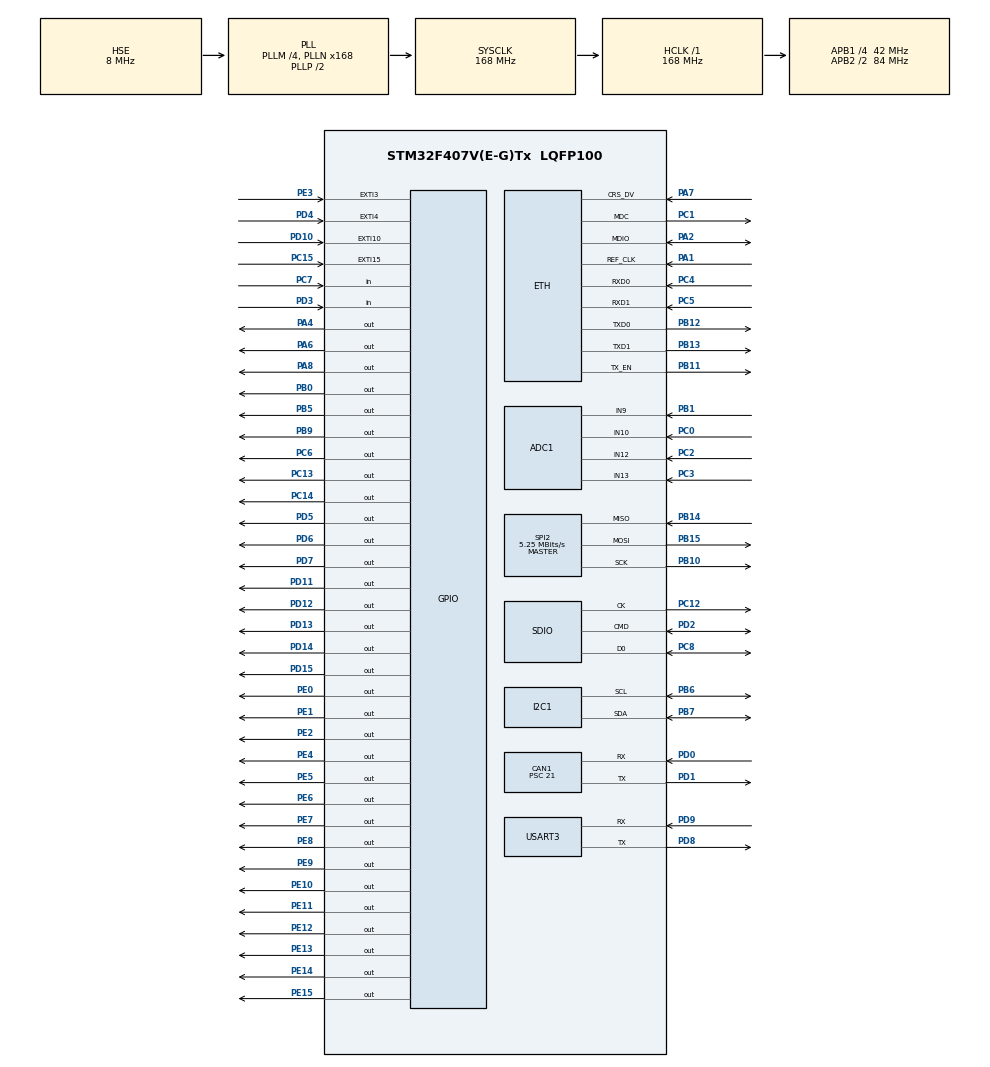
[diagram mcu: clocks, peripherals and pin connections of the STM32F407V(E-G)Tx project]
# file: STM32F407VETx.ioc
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ADC1.Channel-10\#ChannelRegularConversion=ADC_CHANNEL_13
ADC1.Channel-11\#ChannelRegularConversion=ADC_CHANNEL_9
ADC1.Channel-8\#ChannelRegularConversion=ADC_CHANNEL_10
ADC1.Channel-9\#ChannelRegularConversion=ADC_CHANNEL_12
ADC1.ContinuousConvMode=ENABLE
ADC1.DMAContinuousRequests=ENABLE
ADC1.NbrOfConversion=4
ADC1.NbrOfConversionFlag=1
ADC1.Rank-10\#ChannelRegularConversion=3
ADC1.Rank-11\#ChannelRegularConversion=4
ADC1.Rank-8\#ChannelRegularConversion=1
ADC1.Rank-9\#ChannelRegularConversion=2
ADC1.SamplingTime-10\#ChannelRegularConversion=ADC_SAMPLETIME_84CYCLES
ADC1.SamplingTime-11\#ChannelRegularConversion=ADC_SAMPLETIME_84CYCLES
ADC1.SamplingTime-8\#ChannelRegularConversion=ADC_SAMPLETIME_84CYCLES
ADC1.SamplingTime-9\#ChannelRegularConversion=ADC_SAMPLETIME_84CYCLES
ADC1.ScanConvMode=ENABLE
ADC1.master=1
CAN1.BS1=CAN_BS1_14TQ
CAN1.BS2=CAN_BS2_5TQ
CAN1.CalculateBaudRate=100000
CAN1.CalculateTimeBit=10000
CAN1.CalculateTimeQuantum=500.0
CAN1.NART=ENABLE
CAN1.Prescaler=21
Dma.ADC1.0.Direction=DMA_PERIPH_TO_MEMORY
Dma.ADC1.0.FIFOMode=DMA_FIFOMODE_DISABLE
Dma.ADC1.0.Instance=DMA2_Stream0
Dma.ADC1.0.MemDataAlignment=DMA_MDATAALIGN_HALFWORD
Dma.ADC1.0.MemInc=DMA_MINC_ENABLE
Dma.ADC1.0.Mode=DMA_CIRCULAR
Dma.ADC1.0.PeriphDataAlignment=DMA_PDATAALIGN_HALFWORD
Dma.ADC1.0.PeriphInc=DMA_PINC_DISABLE
Dma.ADC1.0.Priority=DMA_PRIORITY_LOW
Dma.Request0=ADC1
Dma.Request1=SDIO_TX
Dma.Request2=SDIO_RX
Dma.SDIO_RX.2.Direction=DMA_PERIPH_TO_MEMORY
Dma.SDIO_RX.2.FIFOMode=DMA_FIFOMODE_ENABLE
Dma.SDIO_RX.2.FIFOThreshold=DMA_FIFO_THRESHOLD_FULL
Dma.SDIO_RX.2.Instance=DMA2_Stream6
Dma.SDIO_RX.2.MemBurst=DMA_MBURST_INC4
Dma.SDIO_RX.2.MemDataAlignment=DMA_MDATAALIGN_WORD
Dma.SDIO_RX.2.MemInc=DMA_MINC_ENABLE
Dma.SDIO_RX.2.Mode=DMA_PFCTRL
Dma.SDIO_RX.2.PeriphBurst=DMA_PBURST_INC4
Dma.SDIO_RX.2.PeriphDataAlignment=DMA_PDATAALIGN_WORD
Dma.SDIO_RX.2.PeriphInc=DMA_PINC_DISABLE
Dma.SDIO_RX.2.Priority=DMA_PRIORITY_LOW
Dma.SDIO_TX.1.Direction=DMA_MEMORY_TO_PERIPH
Dma.SDIO_TX.1.FIFOMode=DMA_FIFOMODE_ENABLE
Dma.SDIO_TX.1.FIFOThreshold=DMA_FIFO_THRESHOLD_FULL
Dma.SDIO_TX.1.Instance=DMA2_Stream3
Dma.SDIO_TX.1.MemBurst=DMA_MBURST_INC4
Dma.SDIO_TX.1.MemDataAlignment=DMA_MDATAALIGN_WORD
Dma.SDIO_TX.1.MemInc=DMA_MINC_ENABLE
Dma.SDIO_TX.1.Mode=DMA_PFCTRL
Dma.SDIO_TX.1.PeriphBurst=DMA_PBURST_INC4
Dma.SDIO_TX.1.PeriphDataAlignment=DMA_PDATAALIGN_WORD
Dma.SDIO_TX.1.PeriphInc=DMA_PINC_DISABLE
Dma.SDIO_TX.1.Priority=DMA_PRIORITY_LOW
ETH.MediaInterface=HAL_ETH_RMII_MODE
FATFS.BSP.number=1
FATFS.USE_DMA_CODE_SD=1
FATFS._USE_LFN=1
FATFS0.BSP.STBoard=false
FATFS0.BSP.api=Unknown
FATFS0.BSP.instance=PD3
FATFS0.BSP.ip=GPIO
FATFS0.BSP.mode=Input
FATFS0.BSP.name=Detect_SDIO
FATFS0.BSP.solution=PD3
I2C1.I2C_Mode=I2C_Fast
LWIP.BSP.number=1
LWIP.GATEWAY_ADDRESS=192.168.000.001
LWIP.IP_ADDRESS=192.168.000.244
LWIP.LWIP_DHCP=0
LWIP.NETMASK_ADDRESS=255.255.255.000
LWIP.Version=v2.1.2_Cube
LWIP0.BSP.STBoard=false
LWIP0.BSP.api=BSP_COMPONENT_DRIVER
LWIP0.BSP.component=DP83848
LWIP0.BSP.instance=DP83848
LWIP0.BSP.name=Driver_PHY
LWIP0.BSP.semaphore=S_DP83848
LWIP0.BSP.solution=DP83848
Mcu.Family=STM32F4
Mcu.Name=STM32F407V(E-G)Tx
Mcu.Package=LQFP100
NVIC.CAN1_RX0_IRQn=true\:0\:0\:false\:false\:true\:true\:true\:true
NVIC.DMA2_Stream0_IRQn=true\:0\:0\:false\:false\:true\:false\:true\:true
NVIC.DMA2_Stream3_IRQn=true\:0\:0\:false\:false\:true\:false\:true\:true
NVIC.DMA2_Stream6_IRQn=true\:0\:0\:false\:false\:true\:false\:true\:true
NVIC.EXTI15_10_IRQn=true\:0\:0\:false\:true\:true\:4\:true\:true\:true
NVIC.EXTI3_IRQn=true\:0\:0\:false\:true\:true\:5\:true\:true\:true
NVIC.EXTI4_IRQn=true\:0\:0\:false\:true\:true\:3\:true\:true\:true
NVIC.PriorityGroup=NVIC_PRIORITYGROUP_4
NVIC.SDIO_IRQn=true\:0\:0\:false\:false\:true\:true\:true\:true
NVIC.TIM7_IRQn=true\:0\:0\:false\:true\:true\:2\:true\:true\:true
NVIC.USART3_IRQn=true\:0\:0\:false\:true\:true\:1\:true\:true\:true
PA1.Mode=RMII
PA1.Signal=ETH_REF_CLK
PA2.Mode=RMII
PA2.Signal=ETH_MDIO
PA4.Signal=GPIO_Output
PA6.Signal=GPIO_Output
PA7.Mode=RMII
PA7.Signal=ETH_CRS_DV
PA8.Signal=GPIO_Output
PB0.GPIO_PuPd=GPIO_NOPULL
PB0.Signal=GPIO_Output
PB1.Signal=ADCx_IN9
PB10.Mode=Full_Duplex_Master
PB10.Signal=SPI2_SCK
PB11.Mode=RMII
PB11.Signal=ETH_TX_EN
PB12.Mode=RMII
PB12.Signal=ETH_TXD0
PB13.Mode=RMII
PB13.Signal=ETH_TXD1
PB14.Mode=Full_Duplex_Master
PB14.Signal=SPI2_MISO
PB15.Mode=Full_Duplex_Master
PB15.Signal=SPI2_MOSI
PB5.GPIO_PuPd=GPIO_NOPULL
PB5.Signal=GPIO_Output
PB6.Mode=I2C
PB6.Signal=I2C1_SCL
PB7.Mode=I2C
PB7.Signal=I2C1_SDA
PB9.Signal=GPIO_Output
PC0.Signal=ADCx_IN10
PC1.Mode=RMII
PC1.Signal=ETH_MDC
PC12.Mode=SD_1_bit
PC12.Signal=SDIO_CK
PC13-ANTI_TAMP.Signal=GPIO_Output
PC14-OSC32_IN.Signal=GPIO_Output
PC15-OSC32_OUT.GPIO_ModeDefaultEXTI=GPIO_MODE_IT_RISING
PC15-OSC32_OUT.Signal=GPXTI15
PC2.Signal=ADCx_IN12
PC3.Signal=ADCx_IN13
PC4.Mode=RMII
PC4.Signal=ETH_RXD0
PC5.Mode=RMII
PC5.Signal=ETH_RXD1
PC6.GPIO_PuPd=GPIO_NOPULL
PC6.Signal=GPIO_Output
PC7.Signal=GPIO_Input
PC8.Mode=SD_1_bit
PC8.Signal=SDIO_D0
PD0.Mode=CAN_Activate
PD0.Signal=CAN1_RX
PD1.Mode=CAN_Activate
PD1.Signal=CAN1_TX
PD10.GPIO_ModeDefaultEXTI=GPIO_MODE_IT_RISING
PD10.Signal=GPXTI10
PD11.Signal=GPIO_Output
PD12.Signal=GPIO_Output
PD13.Signal=GPIO_Output
PD14.Signal=GPIO_Output
PD15.Signal=GPIO_Output
PD2.Mode=SD_1_bit
PD2.Signal=SDIO_CMD
PD3.Signal=GPIO_Input
PD4.GPIO_ModeDefaultEXTI=GPIO_MODE_IT_RISING
PD4.Signal=GPXTI4
PD5.Signal=GPIO_Output
PD6.Signal=GPIO_Output
PD7.Signal=GPIO_Output
PD8.Mode=Asynchronous
PD8.Signal=USART3_TX
PD9.Mode=Asynchronous
PD9.Signal=USART3_RX
PE0.Signal=GPIO_Output
PE1.Signal=GPIO_Output
PE10.Signal=GPIO_Output
PE11.Signal=GPIO_Output
PE12.Signal=GPIO_Output
PE13.Signal=GPIO_Output
PE14.Signal=GPIO_Output
PE15.Signal=GPIO_Output
PE2.Signal=GPIO_Output
PE3.Signal=GPXTI3
PE4.Signal=GPIO_Output
PE5.Signal=GPIO_Output
PE6.Signal=GPIO_Output
PE7.Signal=GPIO_Output
PE8.Signal=GPIO_Output
PE9.Signal=GPIO_Output
PH0-OSC_IN.Mode=HSE-External-Oscillator
PH0-OSC_IN.Signal=RCC_OSC_IN
PH1-OSC_OUT.Mode=HSE-External-Oscillator
PH1-OSC_OUT.Signal=RCC_OSC_OUT
ProjectManager.HeapSize=0x200
ProjectManager.StackSize=0x400
ProjectManager.TargetToolchain=STM32CubeIDE
RCC.48MHZClocksFreq_Value=48000000
RCC.AHBFreq_Value=168000000
RCC.APB1CLKDivider=RCC_HCLK_DIV4
RCC.APB1Freq_Value=42000000
RCC.APB1TimFreq_Value=84000000
RCC.APB2CLKDivider=RCC_HCLK_DIV2
RCC.APB2Freq_Value=84000000
RCC.APB2TimFreq_Value=168000000
RCC.CortexFreq_Value=168000000
RCC.HCLKFreq_Value=168000000
RCC.HSE_VALUE=8000000
RCC.HSI_VALUE=16000000
RCC.LSE_VALUE=32768
RCC.PLLM=4
RCC.PLLN=168
RCC.PLLQ=7
RCC.PLLSourceVirtual=RCC_PLLSOURCE_HSE
RCC.SYSCLKFreq_VALUE=168000000
RCC.SYSCLKSource=RCC_SYSCLKSOURCE_PLLCLK
RCC.VCOOutputFreq_Value=336000000
SH.ADCx_IN10.0=ADC1_IN10,IN10
SH.ADCx_IN12.0=ADC1_IN12,IN12
SH.ADCx_IN13.0=ADC1_IN13,IN13
SH.ADCx_IN9.0=ADC1_IN9,IN9
SPI2.BaudRatePrescaler=SPI_BAUDRATEPRESCALER_8
SPI2.CLKPhase=SPI_PHASE_2EDGE
SPI2.CLKPolarity=SPI_POLARITY_HIGH
SPI2.CalculateBaudRate=5.25 MBits/s
SPI2.Direction=SPI_DIRECTION_2LINES
SPI2.Mode=SPI_MODE_MASTER
SPI2.VirtualType=VM_MASTER
TIM7.Period=2099
TIM7.Prescaler=9999
USART3.VirtualMode=VM_ASYNC
VP_FATFS_VS_SDIO.Mode=SDIO
VP_LWIP_VS_Enabled.Mode=Enabled
VP_RNG_VS_RNG.Mode=RNG_Activate
VP_TIM7_VS_ClockSourceINT.Mode=Enable_Timer
board=custom

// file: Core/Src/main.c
/* USER CODE BEGIN Header */
/**
  ******************************************************************************
  * @file           : main.c
  * @brief          : Main program body
  ******************************************************************************
  * @attention
  *
  * Copyright (c) 2023 STMicroelectronics.
  * All rights reserved.
  *
  * This software is licensed under terms that can be found in the LICENSE file
  * in the root directory of this software component.
  * If no LICENSE file comes with this software, it is provided AS-IS.
  *
  ******************************************************************************
  */
/* USER CODE END Header */
#include "main.h"
#include "adc.h"
#include "can.h"
#include "dma.h"
#include "fatfs.h"
#include "i2c.h"
#include "lwip.h"
#include "rng.h"
#include "sdio.h"
#include "spi.h"
#include "tim.h"
#include "usart.h"
#include "gpio.h"

/* USER CODE BEGIN Includes */
#include <stdio.h>
#include "CLCD.h"
#include "7SEG.h"
#include "VS1003.h"
#include "MP3Sample.h"
#include "udp_echoserver.h"
/* USER CODE END Includes */

/* USER CODE BEGIN PTD */
typedef	struct{
	uint8_t		corrupted;
	uint32_t	used_time;
}DeviceInfo;
/* USER CODE END PTD */

/* USER CODE BEGIN PD */
#define	RIGHT_SG90_CCR	176
#define	LEFT_SG90_CCR	1319

#define	MAX_OCTAVE	8
#define	MAX_SCALE	12

#define	BUZZER_SRC_TIMER		(TIM2)
#define	BUZZER_SRC_CHANNEL		(TIM_CHANNEL_1)
#define	BUZZER_SRC_TIMER_FREQ	84000000
#define	BUZZER_SRC_TIMER_ARR	168

#define	NUM_OF_ADC_CONVERSION	4

#define	TRUE	1
#define	FALSE	0

#define	EEPROM_I2C_ADDR		0xA0
#define	EEPROM_DATA_ADDR	0x00
#define	EEPROM_TIMEOUT		10	// ms

#define	MP3_DATA_PACKET_SIZE	32
#define	NUM_OF_TRACKS			4
/* USER CODE END PD */

/* USER CODE BEGIN PM */
#define	get_random_number(MAX_NUM)	(HAL_RNG_GetRandomNumber(&hrng)%(MAX_NUM))
#define	update_SG90_dir(cur)		((cur)=((cur)==LEFT_SG90_CCR)?RIGHT_SG90_CCR:LEFT_SG90_CCR)

#define	next_octave(o)	(((o)+1)%MAX_OCTAVE)
#define	next_scale(s)	(((s)+1)%MAX_SCALE)

#define	PAUSE	0
#define	PLAY	1
/* USER CODE END PM */

/* USER CODE BEGIN PV */
// UART
static uint8_t	uart3_rx_data;

// CLDC
static uint8_t	clcd_out_sig;

#if 0
static uint16_t	sg90_ccr = LEFT_SG90_CCR;

static uint32_t	freq[MAX_OCTAVE][MAX_SCALE] = {
		{33,35,37,39,41,44,46,49,52,55,58,62},
		{65,69,73,78,82,87,92,98,104,110,117,123},
		{131,139,147,156,165,175,185,196,208,220,233,247},
		{262,277,294,311,330,349,370,392,415,440,466,494},
		{523,554,587,622,659,698,740,784,831,880,932,988},
		{1047,1109,1175,1245,1319,1397,1480,1568,1661,1760,1865,1976},
		{2093,2217,2349,2489,2637,2794,2960,3136,3322,3520,3729,3951},
		{4186,4435,4699,4978,5274,5588,5920,6272,6645,7040,7459,7902}
};

static char* scale[MAX_SCALE] = {
		"C","C#","D","D#","E","F","F#","G","G#","A","A#","B"
};

static int32_t	cur_octave = MAX_OCTAVE-1;
static int32_t	cur_scale = MAX_SCALE-1;
#endif
// ADC
static uint8_t	src_idx_of_adc;
volatile static uint16_t	adc_val[NUM_OF_ADC_CONVERSION];
const static char*	adc_name[NUM_OF_ADC_CONVERSION] = {"VR1","VR2","VR3","CDS"};
const static struct{uint32_t min_val,max_val;}
	resolution[NUM_OF_ADC_CONVERSION] = {{0,4095},{0,4095},{0,4095},{0,4095}};

// EEPROM
static union{
	uint8_t		data[sizeof(DeviceInfo)];
	DeviceInfo	d;
} device_info;

// MP3
const static uint8_t*	MP3_file_name[] = {
		"0:/track1.mp3","0:/track2.mp3","0:/track3.mp3","0:/track4.mp3"
};

static uint8_t	new_mp3_sig;
static uint32_t	mp3_ptr,cur_mp3_mode,cur_play_ptr;

// CAN
static uint8_t	can_tx_sig,can_rx_sig;
static uint32_t	canMsgId[] = {0x102,0x106,0x10A,0x10E};

/* USER CODE END PV */

void SystemClock_Config(void);
static void MX_NVIC_Init(void);

/* USER CODE BEGIN 0 */
static uint32_t	reset_device_info(void)
{
	uint8_t	reset_data[sizeof(DeviceInfo)] = {0,};

	HAL_I2C_Mem_Write(&hi2c1, EEPROM_I2C_ADDR, EEPROM_DATA_ADDR,
			I2C_MEMADD_SIZE_8BIT, reset_data, sizeof(DeviceInfo), EEPROM_TIMEOUT);
	return	0;
}

static uint32_t read_device_info(void)
{
	HAL_I2C_Mem_Read(&hi2c1, EEPROM_I2C_ADDR, EEPROM_DATA_ADDR,
			I2C_MEMADD_SIZE_8BIT, device_info.data, sizeof(DeviceInfo), EEPROM_TIMEOUT);

	printf("device_info.d.corrupted : %s\n",device_info.d.corrupted?"True":"False");

	if( device_info.d.corrupted != FALSE )
	{
		reset_device_info();
		HAL_I2C_Mem_Read(&hi2c1, EEPROM_I2C_ADDR, EEPROM_DATA_ADDR,
			I2C_MEMADD_SIZE_8BIT, device_info.data, sizeof(DeviceInfo), EEPROM_TIMEOUT);
	}

	return	0;
}

static uint32_t write_device_info(void)
{
	printf("Write Device Information, %lu\n",device_info.d.used_time);
	HAL_I2C_Mem_Write(&hi2c1, EEPROM_I2C_ADDR, EEPROM_DATA_ADDR,
				I2C_MEMADD_SIZE_8BIT, device_info.data, sizeof(DeviceInfo), EEPROM_TIMEOUT);

	return	0;
}

static uint32_t	get_7SEG_value(uint8_t adc_ptr)
{
	return	100*(uint32_t)adc_val[adc_ptr]/resolution[adc_ptr].max_val;
}

static int	change_LED_state(int led_pos,int pin_state)
{
	for(int i=0;i<NUM_OF_LEDs;i++)
	{
		HAL_GPIO_WritePin(led[led_pos][i].gpio_type, led[led_pos][i].gpio_pin, pin_state);
	}

	return	0;
}

static int	set_LED_state_by_switch(int switch_idx)
{
	if( HAL_GPIO_ReadPin(swtch[switch_idx].gpio_type, swtch[switch_idx].gpio_pin) == SWITCH_ON )
	{
		change_LED_state(LEFT, LED_ON);
		change_LED_state(RIGHT, LED_ON);
	}
	else
	{
		change_LED_state(LEFT, LED_OFF);
		change_LED_state(RIGHT, LED_OFF);
	}

	return	0;
}

int	_write(int file,char* p,int len)
{
	HAL_UART_Transmit(&huart3, (uint8_t*)p, len, 10);
	return	0;
}

#if 0
int	set_buzzer(void)
{
	/*
	if( ++cur_scale == MAX_SCALE )
	{
		cur_scale = 0;

		if( ++cur_octave == MAX_OCTAVE )
		{
			cur_octave = 0;
		}
	}
	*/
	BUZZER_SRC_TIMER->PSC =
			BUZZER_SRC_TIMER_FREQ/(/*freq[cur_octave][cur_scale]*/adc_val[0]*BUZZER_SRC_TIMER_ARR);

	return	0;
}
#endif

uint32_t	send_mp3_data_to_codec(void)
{
	uint8_t		buf[32];
	uint32_t	read_size;

	if( MP3_DREQ != GPIO_PIN_SET )
	{
		return	0;
	}

	if( (retSD=f_read(&SDFile,buf,32,&read_size)) != FR_OK )
	{
		CLCD_Printf("Cannot read\n%s",MP3_file_name[mp3_ptr]);
		return	0;
	}

	if( read_size == 0 )
	{
		CLCD_Printf("End of Song\n%s",MP3_file_name[mp3_ptr]);
		return	0;
	}

	VS1003_WriteData(buf,read_size);

	return	0;
}

uint8_t	LED_init(void)
{
	change_LED_state(LEFT, LED_OFF);
	change_LED_state(RIGHT, LED_OFF);

	return	0;
}

uint8_t	set_LED_by_ADC(int led_pos)
{
	for(int i=0;i<NUM_OF_LEDs;i++)
	{
		HAL_GPIO_WritePin(led[led_pos][i].gpio_type,
				led[led_pos][i].gpio_pin, (adc_val[i]>=2048));
	}

	return	0;
}

uint8_t	mount_SD_card(void)
{
	uint8_t	ret = TRUE;

	if( (retSD = f_mount(&SDFatFS,SDPath,1)) == FR_OK )
	{
		CLCD_Printf("f_mount() OK %d\nSD %s bus",retSD,
				(hsd.Init.BusWide==SDIO_BUS_WIDE_1B)?"1 bit":"4 bits");
	}
	else
	{
		CLCD_Printf("SD %s bus\nFAIL %d",
				(hsd.Init.BusWide==SDIO_BUS_WIDE_1B)?"1 bit":"4 bits",retSD);
		HAL_Delay(2000);

		CLCD_Printf("Please try\n%s mode",
				(hsd.Init.BusWide==SDIO_BUS_WIDE_1B)?"4 bits":"1 bit");
		ret = FALSE;
	}

	return	ret;
}

static uint8_t	mp3_open(void)
{
	if( (retSD=f_open(&SDFile,MP3_file_name[mp3_ptr],FA_OPEN_EXISTING|FA_READ)) == FR_OK )
	{
		CLCD_Printf("Current Track:\n%s",MP3_file_name[mp3_ptr]);
	}
	else
	{
		CLCD_Printf("Cannot find %s",MP3_file_name[mp3_ptr]);
	}

	return	0;
}

static int	set_can1_tx_header(uint32_t sw_idx)
{
	canTxHeader.StdId = canMsgId[sw_idx];
	canTxHeader.RTR = CAN_RTR_DATA;
	canTxHeader.IDE = CAN_ID_STD;
	canTxHeader.DLC = 8;

	return	0;
}

static int	send_can1_data(void)
{
	for(uint32_t i=0;i<8;i++) can1Tx0Data[i]++;

	TxMailBox = HAL_CAN_GetTxMailboxesFreeLevel(&hcan1);
	HAL_CAN_AddTxMessage(&hcan1,&canTxHeader,can1Tx0Data,&TxMailBox);

	return	0;
}

static int	set_can_filter1(void)
{
	canFilter1.FilterMaskIdHigh = 0x7F3<<5;
	canFilter1.FilterIdHigh = 0x106<<5;

	canFilter1.FilterMaskIdLow = 0x7F3<<5;
	canFilter1.FilterIdLow = 0x106<<5;

	canFilter1.FilterMode = CAN_FILTERMODE_IDMASK;
	canFilter1.FilterScale = CAN_FILTERSCALE_16BIT;

	canFilter1.FilterFIFOAssignment = CAN_FILTER_FIFO0;
	canFilter1.FilterBank = 0;

	canFilter1.FilterActivation = ENABLE;

	HAL_CAN_ConfigFilter(&hcan1,&canFilter1);
	HAL_CAN_ActivateNotification(&hcan1,CAN_IT_RX_FIFO0_MSG_PENDING);

	return	0;
}
/* USER CODE END 0 */

int main(void)
{

  /* MCU Configuration--------------------------------------------------------*/

  /* Reset of all peripherals, Initializes the Flash interface and the Systick. */
  HAL_Init();

  /* Configure the system clock */
  SystemClock_Config();

  /* Initialize all configured peripherals */
  MX_GPIO_Init();
  MX_DMA_Init();
  MX_USART3_UART_Init();
  MX_RNG_Init();
  MX_TIM7_Init();
  MX_ADC1_Init();
  MX_I2C1_Init();
  MX_SPI2_Init();
  MX_SDIO_SD_Init();
  MX_FATFS_Init();
  MX_LWIP_Init();
  MX_CAN1_Init();

  /* Initialize interrupts */
  MX_NVIC_Init();
  /* USER CODE BEGIN 2 */
  CLCD_GPIO_Init();
  CLCD_Init();

  LED_init();
  _7SEG_GPIO_Init();

  VS1003_Init();
  VS1003_SoftReset();

  /* tcp echo server Init */
  udp_echoserver_init();

  set_can_filter1();
  /* USER CODE END 2 */

  /* Infinite loop */
  /* USER CODE BEGIN WHILE */
  read_device_info();
  CLCD_Printf("Welcome!!\nUsed time:%lu",device_info.d.used_time);
  HAL_Delay(2000);
#if 0
  HAL_TIM_PWM_Start(&htim10, TIM_CHANNEL_1);
  HAL_TIM_PWM_Start(&htim2, TIM_CHANNEL_1);
#endif
  HAL_UART_Receive_IT(&huart3, &uart3_rx_data, sizeof(uart3_rx_data));
  HAL_ADC_Start_DMA(&hadc1,(uint32_t*)adc_val,4);
  HAL_TIM_Base_Start_IT(&htim7);
  HAL_CAN_Start(&hcan1);

  if( mount_SD_card() == TRUE )
  {
	  mp3_open();
	  cur_mp3_mode = PAUSE;
  }

  set_LED_by_ADC(LEFT);
  display_7SEG_number(0);

  //CLCD_Printf("%s","Select a song:\nSW1~SW4");

  while (1)
  {
	  //send_mp3_data_to_codec(MP3_DATA,sizeof(MP3_DATA));
    /* USER CODE END WHILE */

    /* USER CODE BEGIN 3 */
	  if( can_rx_sig == TRUE )
	  {
		  clear_sig(can_rx_sig);
		  CLCD_Printf("Rx ID: 0x%03X\nRx Data: 0x%2X",
				  	  	  canRxHeader.StdId,can1Rx0Data[0]);
	  }

	  if( can_tx_sig == TRUE )
	  {
		  clear_sig(can_tx_sig);
		  send_can1_data();
	  }

	  if( new_mp3_sig == TRUE )
	  {
		  printf("%d %s\n",mp3_ptr,MP3_file_name[mp3_ptr]);
		  clear_sig(new_mp3_sig);

		  if( SD_status(0) == RES_OK )
		  {
			  f_close(&SDFile);
			  mp3_open();
			  VS1003_SoftReset();
		  }

		  cur_mp3_mode = PAUSE;
		  cur_play_ptr = 0;
	  }

	  if( cur_mp3_mode == PLAY )
	  {
		  send_mp3_data_to_codec();
	  }

	  /* Read a received packet from the Ethernet buffers and send it
		 to the lwIP for handling */
	  ethernetif_input(&gnetif);

	  /* Handle timeouts */
	  sys_check_timeouts();

#if 0 //#if LWIP_NETIF_LINK_CALLBACK
	  Ethernet_Link_Periodic_Handle(&gnetif);
#endif

#if LWIP_DHCP
	  DHCP_Periodic_Handle(&gnetif);
#endif
  }
  /* USER CODE END 3 */
}

void SystemClock_Config(void)
{
  RCC_OscInitTypeDef RCC_OscInitStruct = {0};
  RCC_ClkInitTypeDef RCC_ClkInitStruct = {0};

  /** Configure the main internal regulator output voltage
  */
  __HAL_RCC_PWR_CLK_ENABLE();
  __HAL_PWR_VOLTAGESCALING_CONFIG(PWR_REGULATOR_VOLTAGE_SCALE1);

  /** Initializes the RCC Oscillators according to the specified parameters
  * in the RCC_OscInitTypeDef structure.
  */
  RCC_OscInitStruct.OscillatorType = RCC_OSCILLATORTYPE_HSE;
  RCC_OscInitStruct.HSEState = RCC_HSE_ON;
  RCC_OscInitStruct.PLL.PLLState = RCC_PLL_ON;
  RCC_OscInitStruct.PLL.PLLSource = RCC_PLLSOURCE_HSE;
  RCC_OscInitStruct.PLL.PLLM = 4;
  RCC_OscInitStruct.PLL.PLLN = 168;
  RCC_OscInitStruct.PLL.PLLP = RCC_PLLP_DIV2;
  RCC_OscInitStruct.PLL.PLLQ = 7;
  if (HAL_RCC_OscConfig(&RCC_OscInitStruct) != HAL_OK)
  {
    Error_Handler();
  }

  /** Initializes the CPU, AHB and APB buses clocks
  */
  RCC_ClkInitStruct.ClockType = RCC_CLOCKTYPE_HCLK|RCC_CLOCKTYPE_SYSCLK
                              |RCC_CLOCKTYPE_PCLK1|RCC_CLOCKTYPE_PCLK2;
  RCC_ClkInitStruct.SYSCLKSource = RCC_SYSCLKSOURCE_PLLCLK;
  RCC_ClkInitStruct.AHBCLKDivider = RCC_SYSCLK_DIV1;
  RCC_ClkInitStruct.APB1CLKDivider = RCC_HCLK_DIV4;
  RCC_ClkInitStruct.APB2CLKDivider = RCC_HCLK_DIV2;

  if (HAL_RCC_ClockConfig(&RCC_ClkInitStruct, FLASH_LATENCY_5) != HAL_OK)
  {
    Error_Handler();
  }
}

/**
  * @brief NVIC Configuration.
  * @retval None
  */
static void MX_NVIC_Init(void)
{
  /* USART3_IRQn interrupt configuration */
  HAL_NVIC_SetPriority(USART3_IRQn, 0, 0);
  HAL_NVIC_EnableIRQ(USART3_IRQn);
  /* TIM7_IRQn interrupt configuration */
  HAL_NVIC_SetPriority(TIM7_IRQn, 0, 0);
  HAL_NVIC_EnableIRQ(TIM7_IRQn);
  /* EXTI4_IRQn interrupt configuration */
  HAL_NVIC_SetPriority(EXTI4_IRQn, 0, 0);
  HAL_NVIC_EnableIRQ(EXTI4_IRQn);
  /* EXTI15_10_IRQn interrupt configuration */
  HAL_NVIC_SetPriority(EXTI15_10_IRQn, 0, 0);
  HAL_NVIC_EnableIRQ(EXTI15_10_IRQn);
  /* EXTI3_IRQn interrupt configuration */
  HAL_NVIC_SetPriority(EXTI3_IRQn, 0, 0);
  HAL_NVIC_EnableIRQ(EXTI3_IRQn);
}

/* USER CODE BEGIN 4 */
void HAL_GPIO_EXTI_Callback(uint16_t GPIO_Pin)
{
	uint32_t	led_idx;

	switch(GPIO_Pin)
	{
		case GPIO_PIN_3:
			mp3_ptr=(mp3_ptr+(NUM_OF_TRACKS-1))%NUM_OF_TRACKS;
			set_sig(new_mp3_sig);
			set_can1_tx_header(0);
			set_sig(can_tx_sig);
			break;
		case GPIO_PIN_15:
			mp3_ptr=(mp3_ptr+1)%NUM_OF_TRACKS;
			set_sig(new_mp3_sig);
			set_can1_tx_header(1);
			set_sig(can_tx_sig);
			break;
		case GPIO_PIN_4:
			cur_mp3_mode=PLAY;
			set_can1_tx_header(2);
			set_sig(can_tx_sig);
			break;
		case GPIO_PIN_10:
			cur_mp3_mode=PAUSE;
			set_can1_tx_header(3);
			set_sig(can_tx_sig);
			break;
		default:/*do nothing*/;break;
	}
}

void HAL_UART_RxCpltCallback(UART_HandleTypeDef *huart)
{
	if( huart->Instance == USART3 )
	{
		HAL_UART_Receive_IT(&huart3, &uart3_rx_data, sizeof(uart3_rx_data));
		HAL_UART_Transmit(&huart3, &uart3_rx_data, sizeof(uart3_rx_data), 10);
	}
}

void HAL_TIM_PeriodElapsedCallback(TIM_HandleTypeDef *htim)
{
	//static int	left_led_state = LED_OFF;
	static int	right_led_state = LED_ON;
	static int	cnt = 0;

	if( htim->Instance == TIM7 )
	{
		//display_7SEG_number(get_7SEG_value(src_idx_of_adc));
		set_LED_by_ADC(LEFT);

		if( ++cnt%4 == 0 )
		{
			display_7SEG_number((cnt/4)%100);

			device_info.d.used_time++;
			write_device_info();

			change_LED_state(RIGHT, right_led_state);
			right_led_state = (right_led_state==LED_ON)?LED_OFF:LED_ON;
		}
	}
}

void HAL_CAN_RxFifo0MsgPendingCallback(CAN_HandleTypeDef *hcan)
{
	if( hcan->Instance == CAN1 )
	{
		HAL_CAN_GetRxMessage(&hcan1,CAN_RX_FIFO0,&canRxHeader,can1Rx0Data);
		set_sig(can_rx_sig);
	}
}
/* USER CODE END 4 */

void Error_Handler(void)
{
  __disable_irq();
  while (1)
  {
  }
}
